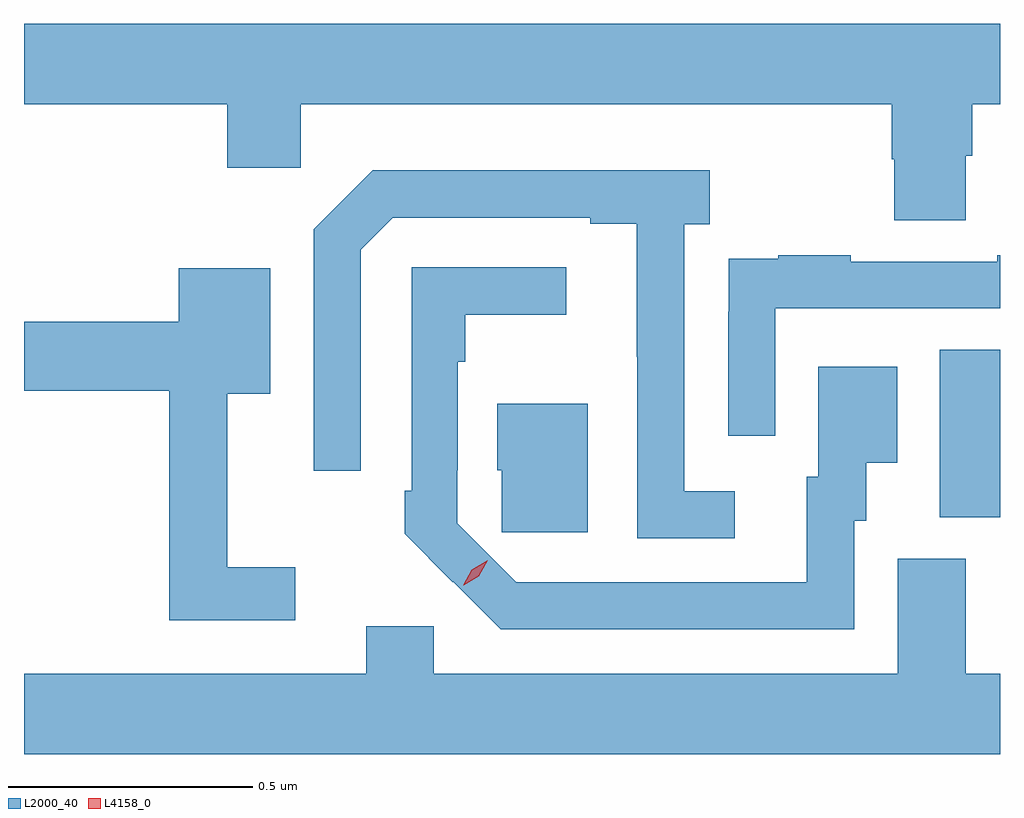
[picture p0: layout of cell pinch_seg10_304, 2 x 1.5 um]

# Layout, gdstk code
import gdstk
lib = gdstk.Library(unit=1e-6, precision=1e-09)
def R(c, l, rs):  # rectangles x0, y0, x1, y1
    for r in rs: c.add(gdstk.rectangle(r[:2], r[2:], *l))
def P(c, l, *ps):  # polygons
    for p in ps: c.add(gdstk.Polygon(p, *l))
L2000_40 = (2000, 40)
L4158_0 = (4158, 0)

pinch_seg10_304 = lib.new_cell('pinch_seg10_304')
R(pinch_seg10_304, L2000_40, [(497.252,1296.805,497.375,1297.148)])
P(pinch_seg10_304, L2000_40, [(495.375,1297.652),(495.791,1297.652),(495.791,1297.521),(495.942,1297.521),(495.942,1297.652),(497.153,1297.652),(497.153,1297.539),(497.158,1297.539),(497.158,1297.414),(497.305,1297.414),(497.305,1297.546),(497.318,1297.546),(497.318,1297.652),(497.375,1297.652),(497.375,1297.816),(495.375,1297.816)],
  [(496.831,1296.858),(496.728,1296.858),(496.728,1297.406),(496.78,1297.406),(496.78,1297.516),(496.09,1297.516),(495.969,1297.395),(495.969,1296.9),(496.065,1296.9),(496.065,1297.353),(496.131,1297.419),(496.535,1297.419),(496.535,1297.407),(496.631,1297.407),(496.631,1297.134),(496.632,1297.134),(496.632,1296.762),(496.831,1296.762)],
  [(496.914,1297.233),(497.375,1297.233),(497.375,1297.342),(497.369,1297.342),(497.369,1297.329),(497.069,1297.329),(497.069,1297.342),(496.921,1297.342),(496.921,1297.335),(496.819,1297.335),(496.819,1297.226),(496.818,1297.226),(496.818,1296.972),(496.914,1296.972)],
  [(497.076,1296.798),(497.101,1296.798),(497.101,1296.917),(497.164,1296.917),(497.164,1297.114),(497.003,1297.114),(497.003,1296.888),(496.979,1296.888),(496.979,1296.672),(496.384,1296.672),(496.263,1296.793),(496.263,1296.901),(496.264,1296.901),(496.264,1297.124),(496.279,1297.124),(496.279,1297.22),(496.486,1297.22),(496.486,1297.317),(496.17,1297.317),(496.17,1296.859),(496.155,1296.859),(496.155,1296.771),(496.254,1296.672),(496.255,1296.673),(496.352,1296.576),(497.076,1296.576)],
  [(495.931,1296.703),(495.791,1296.703),(495.791,1297.058),(495.88,1297.058),(495.88,1297.315),(495.692,1297.315),(495.692,1297.206),(495.375,1297.206),(495.375,1297.064),(495.673,1297.064),(495.673,1296.594),(495.931,1296.594)],
  [(496.53,1297.038),(496.345,1297.038),(496.345,1296.901),(496.354,1296.901),(496.354,1296.774),(496.53,1296.774)],
  [(497.375,1296.484),(497.305,1296.484),(497.305,1296.72),(497.165,1296.72),(497.165,1296.484),(496.215,1296.484),(496.215,1296.582),(496.076,1296.582),(496.076,1296.484),(495.375,1296.484),(495.375,1296.32),(497.375,1296.32)])
P(pinch_seg10_304, L4158_0, [(496.275,1296.666),(496.275,1296.666),(496.293,1296.698),(496.325,1296.717),(496.325,1296.717),(496.325,1296.717),(496.307,1296.684),(496.276,1296.666)])

lib.write_gds('pinch_seg10_304.gds')
